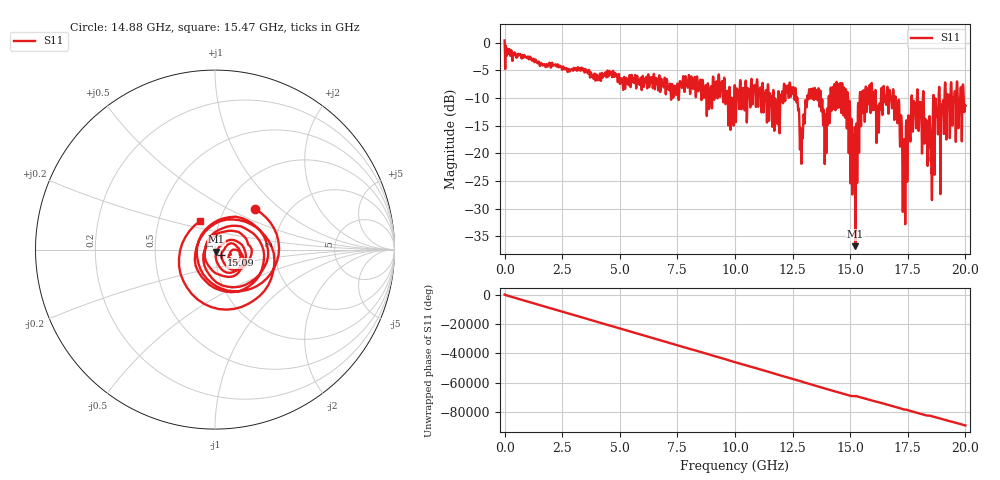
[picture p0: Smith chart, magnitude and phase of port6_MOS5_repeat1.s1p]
! MS46122B
! 2250307/22442219
! 7/23/2025 8:06:33 AM
! C:\USERS\SPARKY\DOCUMENTS\VNA_DATA\JULY23_2025\3K\PORT6_MOS5_REPEAT1.S1P
! CHANNEL.1
! TR.MEASUREMENT
! RAW.DATA
# GHZ S RI R 50.0
! FREQ.GHZ  S11RE  S11IM
!; PortSelection: Port_1
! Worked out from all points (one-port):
!   10001 points, 1 MHz to 20 GHz, reference 50 ohm
!   lowest |S11| = -36.8 dB at 15.23 GHz (marker M1), VSWR 1.03, Z = 50.8 - j1.26 ohm
!   |S11| at or under -10 dB: 12.71 GHz to 13.13 GHz (422.9 MHz wide, 3.27 % of centre); 14.91 GHz to 15.41 GHz (507.2 MHz wide, 3.35 % of centre); 16.98 GHz to 17.66 GHz (681.8 MHz wide, 3.94 % of centre) (the widest 3 of 86)
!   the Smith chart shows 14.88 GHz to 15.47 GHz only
!   S11 on the Smith chart (normalised r, x): 14.88 GHz: 1.37, +0.69; 15.09 GHz: 1.07, -0.06; 15.47 GHz: 0.81, +0.27
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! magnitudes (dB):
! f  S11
! 1 MHz  0.4
! 2.501 GHz  -4.9
! 5.001 GHz  -7.4
! 7.501 GHz  -7.4
! 9.363 GHz  -8.8
! 10 GHz  -8.0
! 10.88 GHz  -8.5
! 11.78 GHz  -12.3
! 12.5 GHz  -9.2
! 12.89 GHz  -21.5
! 13.3 GHz  -8.4
! 13.7 GHz  -8.8
! 13.9 GHz  -18.9
! 14.32 GHz  -7.5
! 14.88 GHz  -10.0
! 15 GHz  -14.7
! 15.09 GHz  -26.7
! 15.23 GHz  -36.8
! 15.47 GHz  -14.9
! 16.22 GHz  -13.4
! 16.79 GHz  -10.5
! 17.15 GHz  -17.0
! 17.33 GHz  -19.0
! 17.5 GHz  -16.0
! 17.99 GHz  -14.0
! 18.46 GHz  -14.4
! 18.79 GHz  -12.9
! 20 GHz  -11.4
